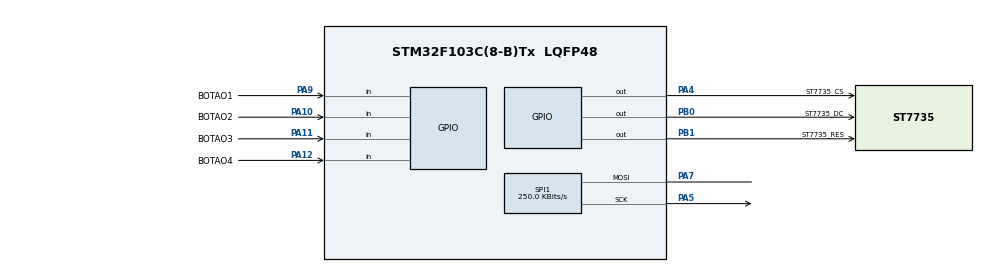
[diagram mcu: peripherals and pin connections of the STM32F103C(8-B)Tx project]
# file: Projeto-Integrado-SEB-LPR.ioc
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Mcu.Family=STM32F1
Mcu.Name=STM32F103C(8-B)Tx
Mcu.Package=LQFP48
NVIC.PriorityGroup=NVIC_PRIORITYGROUP_4
PA10.GPIO_Label=BOTAO2
PA10.GPIO_PuPd=GPIO_PULLUP
PA10.Signal=GPIO_Input
PA11.GPIO_Label=BOTAO3
PA11.GPIO_PuPd=GPIO_PULLUP
PA11.Signal=GPIO_Input
PA12.GPIO_Label=BOTAO4
PA12.GPIO_PuPd=GPIO_PULLUP
PA12.Signal=GPIO_Input
PA13.Mode=Serial_Wire
PA13.Signal=SYS_JTMS-SWDIO
PA14.Mode=Serial_Wire
PA14.Signal=SYS_JTCK-SWCLK
PA4.GPIO_Label=ST7735_CS
PA4.Signal=GPIO_Output
PA5.Mode=Simplex_Bidirectional_Master
PA5.Signal=SPI1_SCK
PA7.Mode=Simplex_Bidirectional_Master
PA7.Signal=SPI1_MOSI
PA9.GPIO_Label=BOTAO1
PA9.GPIO_PuPd=GPIO_PULLUP
PA9.Signal=GPIO_Input
PB0.GPIO_Label=ST7735_DC
PB0.Signal=GPIO_Output
PB1.GPIO_Label=ST7735_RES
PB1.Signal=GPIO_Output
ProjectManager.HeapSize=0x200
ProjectManager.StackSize=0x400
ProjectManager.TargetToolchain=STM32CubeIDE
RCC.APB1Freq_Value=8000000
RCC.APB2Freq_Value=8000000
SPI1.BaudRatePrescaler=SPI_BAUDRATEPRESCALER_32
SPI1.CalculateBaudRate=250.0 KBits/s
SPI1.Direction=SPI_DIRECTION_1LINE
SPI1.Mode=SPI_MODE_MASTER
SPI1.VirtualType=VM_MASTER
board=custom

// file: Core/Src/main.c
/* USER CODE BEGIN Header */
/**
  ******************************************************************************
  * @file           : main.c
  * @brief          : Main program body
  ******************************************************************************
  * @attention
  *
  * <h2><center>&copy; Copyright (c) 2026 STMicroelectronics.
  * All rights reserved.</center></h2>
  *
  * This software component is licensed by ST under BSD 3-Clause license,
  * the "License"; You may not use this file except in compliance with the
  * License. You may obtain a copy of the License at:
  *                        opensource.org/licenses/BSD-3-Clause
  *
  ******************************************************************************
  */
/* USER CODE END Header */
#include "main.h"

/* USER CODE BEGIN Includes */
#include "st7735\st7735.h"
#include "stdlib.h"
#include "time.h"
#include "stdio.h"
/* USER CODE END Includes */

SPI_HandleTypeDef hspi1;

/* USER CODE BEGIN PV */
GPIO_PinState estado_anterior_botao1 = GPIO_PIN_SET;
GPIO_PinState estado_anterior_botao2 = GPIO_PIN_SET;
GPIO_PinState estado_anterior_botao3 = GPIO_PIN_SET;
GPIO_PinState estado_anterior_botao4 = GPIO_PIN_SET;

int aula_iniciada = 0;
int semente_definida = 0;
int sistema_autenticado = 0;
int config_finalizada = 0;
int senha_gerada = 0;
int tentativas_erradas = 0;
int bloqueado = 0;
int tempo_bloqueio = 0;

int limite_alunos = 0;
int total_entrada = 0;
int total_saida = 0;
int alunos_fora = 0;
int matricula = 0;

int posicao_digito = 0;
int digito_atual = 0;
int senha_inserida = 0;
char buffer[32];

/* USER CODE END PV */

void SystemClock_Config(void);
static void MX_GPIO_Init(void);
static void MX_SPI1_Init(void);
/* USER CODE BEGIN PFP */
void inserir_senha(void);
void gerenciar_configuracao(void);
void gerenciar_aula(void);
void exibir_relatorio_final(void);
void atualizar_tela_inserir(int pos, int dig);
void atualizar_dados_tela_aula(char* msg, int cor_msg);
/* USER CODE END PFP */

int main(void)
{

  /* MCU Configuration--------------------------------------------------------*/

  /* Reset of all peripherals, Initializes the Flash interface and the Systick. */
  HAL_Init();

  /* Configure the system clock */
  SystemClock_Config();

  /* Initialize all configured peripherals */
  MX_GPIO_Init();
  MX_SPI1_Init();
  /* USER CODE BEGIN 2 */
  ST7735_Init();
  ST7735_FillScreen(BLACK);
  /* USER CODE END 2 */
  ST7735_Init();
  ST7735_FillScreen(BLACK);
  /* Infinite loop */
  /* USER CODE BEGIN WHILE */

  while (1)
      {
	        if (aula_iniciada == 0) {
	          ST7735_WriteString(5, 20, "SISTEMA PRONTO", Font_7x10, CYAN, BLACK);
	          ST7735_WriteString(5, 50, "Pressione PA9 para", Font_7x10, WHITE, BLACK);
	          ST7735_WriteString(5, 70, "INICIAR A AULA", Font_7x10, YELLOW, BLACK);

	          if (HAL_GPIO_ReadPin(BOTAO1_GPIO_Port, BOTAO1_Pin) == GPIO_PIN_RESET) {
	            srand(HAL_GetTick());
	            semente_definida = 1;
	            senha_gerada = (rand() % 9000) + 1000;
	            aula_iniciada = 1;

	            senha_inserida = 0;
	            posicao_digito = 0;
	            digito_atual = 0;

	            while(HAL_GPIO_ReadPin(BOTAO1_GPIO_Port, BOTAO1_Pin) == GPIO_PIN_RESET);
	            ST7735_FillScreen(BLACK);
	            atualizar_tela_inserir(posicao_digito, digito_atual);
	          }
	        }

	        else if (sistema_autenticado == 0) {
	          inserir_senha();
	        }

	        else if (config_finalizada == 0) {
	          gerenciar_configuracao();
	        }

	        else {
	          if (HAL_GPIO_ReadPin(BOTAO1_GPIO_Port, BOTAO1_Pin) == GPIO_PIN_RESET &&
	              HAL_GPIO_ReadPin(BOTAO4_GPIO_Port, BOTAO4_Pin) == GPIO_PIN_RESET) {
	            exibir_relatorio_final();
	            while(1);
	          }
	          gerenciar_aula();
	        }

	        /* USER CODE END WHILE */
      }
}

void SystemClock_Config(void)
{
  RCC_OscInitTypeDef RCC_OscInitStruct = {0};
  RCC_ClkInitTypeDef RCC_ClkInitStruct = {0};

  /** Initializes the RCC Oscillators according to the specified parameters
  * in the RCC_OscInitTypeDef structure.
  */
  RCC_OscInitStruct.OscillatorType = RCC_OSCILLATORTYPE_HSI;
  RCC_OscInitStruct.HSIState = RCC_HSI_ON;
  RCC_OscInitStruct.HSICalibrationValue = RCC_HSICALIBRATION_DEFAULT;
  RCC_OscInitStruct.PLL.PLLState = RCC_PLL_NONE;
  if (HAL_RCC_OscConfig(&RCC_OscInitStruct) != HAL_OK)
  {
    Error_Handler();
  }
  /** Initializes the CPU, AHB and APB buses clocks
  */
  RCC_ClkInitStruct.ClockType = RCC_CLOCKTYPE_HCLK|RCC_CLOCKTYPE_SYSCLK
                              |RCC_CLOCKTYPE_PCLK1|RCC_CLOCKTYPE_PCLK2;
  RCC_ClkInitStruct.SYSCLKSource = RCC_SYSCLKSOURCE_HSI;
  RCC_ClkInitStruct.AHBCLKDivider = RCC_SYSCLK_DIV1;
  RCC_ClkInitStruct.APB1CLKDivider = RCC_HCLK_DIV1;
  RCC_ClkInitStruct.APB2CLKDivider = RCC_HCLK_DIV1;

  if (HAL_RCC_ClockConfig(&RCC_ClkInitStruct, FLASH_LATENCY_0) != HAL_OK)
  {
    Error_Handler();
  }
}

static void MX_SPI1_Init(void)
{

  /* SPI1 parameter configuration*/
  hspi1.Instance = SPI1;
  hspi1.Init.Mode = SPI_MODE_MASTER;
  hspi1.Init.Direction = SPI_DIRECTION_1LINE;
  hspi1.Init.DataSize = SPI_DATASIZE_8BIT;
  hspi1.Init.CLKPolarity = SPI_POLARITY_LOW;
  hspi1.Init.CLKPhase = SPI_PHASE_1EDGE;
  hspi1.Init.NSS = SPI_NSS_SOFT;
  hspi1.Init.BaudRatePrescaler = SPI_BAUDRATEPRESCALER_32;
  hspi1.Init.FirstBit = SPI_FIRSTBIT_MSB;
  hspi1.Init.TIMode = SPI_TIMODE_DISABLE;
  hspi1.Init.CRCCalculation = SPI_CRCCALCULATION_DISABLE;
  hspi1.Init.CRCPolynomial = 10;
  if (HAL_SPI_Init(&hspi1) != HAL_OK)
  {
    Error_Handler();
  }

}

static void MX_GPIO_Init(void)
{
  GPIO_InitTypeDef GPIO_InitStruct = {0};

  /* GPIO Ports Clock Enable */
  __HAL_RCC_GPIOA_CLK_ENABLE();
  __HAL_RCC_GPIOB_CLK_ENABLE();

  /*Configure GPIO pin Output Level */
  HAL_GPIO_WritePin(ST7735_CS_GPIO_Port, ST7735_CS_Pin, GPIO_PIN_RESET);

  /*Configure GPIO pin Output Level */
  HAL_GPIO_WritePin(GPIOB, ST7735_DC_Pin|ST7735_RES_Pin, GPIO_PIN_RESET);

  /*Configure GPIO pin : ST7735_CS_Pin */
  GPIO_InitStruct.Pin = ST7735_CS_Pin;
  GPIO_InitStruct.Mode = GPIO_MODE_OUTPUT_PP;
  GPIO_InitStruct.Pull = GPIO_NOPULL;
  GPIO_InitStruct.Speed = GPIO_SPEED_FREQ_LOW;
  HAL_GPIO_Init(ST7735_CS_GPIO_Port, &GPIO_InitStruct);

  /*Configure GPIO pins : ST7735_DC_Pin ST7735_RES_Pin */
  GPIO_InitStruct.Pin = ST7735_DC_Pin|ST7735_RES_Pin;
  GPIO_InitStruct.Mode = GPIO_MODE_OUTPUT_PP;
  GPIO_InitStruct.Pull = GPIO_NOPULL;
  GPIO_InitStruct.Speed = GPIO_SPEED_FREQ_LOW;
  HAL_GPIO_Init(GPIOB, &GPIO_InitStruct);

  /*Configure GPIO pins : BOTAO1_Pin BOTAO2_Pin BOTAO3_Pin BOTAO4_Pin */
  GPIO_InitStruct.Pin = BOTAO1_Pin|BOTAO2_Pin|BOTAO3_Pin|BOTAO4_Pin;
  GPIO_InitStruct.Mode = GPIO_MODE_INPUT;
  GPIO_InitStruct.Pull = GPIO_PULLUP;
  HAL_GPIO_Init(GPIOA, &GPIO_InitStruct);

}

/* USER CODE BEGIN 4 */
void atualizar_tela_inserir(int pos, int dig) {
    ST7735_WriteString(5, 10, "--- AUTENTICACAO ---", Font_7x10, MAGENTA, BLACK);

    sprintf(buffer, "SENHA: %d    ", senha_gerada);
    ST7735_WriteString(5, 35, buffer, Font_7x10, GREEN, BLACK);

    sprintf(buffer, "DIGITO: %d   ", dig);
    ST7735_WriteString(5, 65, buffer, Font_7x10, YELLOW, BLACK);

    ST7735_WriteString(5, 95, "INPUT: ", Font_7x10, WHITE, BLACK);

    for(int i = 0; i < 4; i++) {
        if(i < pos) {
            ST7735_WriteString(65 + (i * 12), 95, "*", Font_7x10, CYAN, BLACK);
        } else {
            ST7735_WriteString(65 + (i * 12), 95, "_", Font_7x10, WHITE, BLACK);
        }
    }

    ST7735_WriteString(5, 120, "PA9:+  PA10:CONFIRMA", Font_7x10, WHITE, BLACK);
}

void exibir_tela_inicial(void) {
    ST7735_FillScreen(BLACK);
    ST7735_WriteString(10, 40, "BEM-VINDO!", Font_11x18, WHITE, BLACK);
    ST7735_WriteString(10, 70, "Pressione PA9", Font_7x10, YELLOW, BLACK);
    ST7735_WriteString(10, 85, "para iniciar", Font_7x10, YELLOW, BLACK);
}

void gerar_senha_aleatoria(void){
	senha_gerada = (rand() % 9000) + 1000;
}

void inserir_senha(void) {

    if (bloqueado) {
        if (HAL_GetTick() - tempo_bloqueio >= 10000) {
            bloqueado = 0;
            tentativas_erradas = 0;
            ST7735_FillScreen(BLACK);
            atualizar_tela_inserir(posicao_digito, digito_atual);
        } else {
            sprintf(buffer, "BLOQUEADO: %ds ", (int)(10 - (HAL_GetTick() - tempo_bloqueio) / 1000));
            ST7735_WriteString(5, 65, buffer, Font_7x10, RED, BLACK);
            return;
        }
    }

    if (HAL_GPIO_ReadPin(BOTAO1_GPIO_Port, BOTAO1_Pin) == GPIO_PIN_RESET) {
        HAL_Delay(50);
        digito_atual = (digito_atual + 1) % 10;
        atualizar_tela_inserir(posicao_digito, digito_atual);
        while(HAL_GPIO_ReadPin(BOTAO1_GPIO_Port, BOTAO1_Pin) == GPIO_PIN_RESET);
    }

    if (HAL_GPIO_ReadPin(BOTAO2_GPIO_Port, BOTAO2_Pin) == GPIO_PIN_RESET) {
        HAL_Delay(50);
        senha_inserida = (senha_inserida * 10) + digito_atual;
        posicao_digito++;
        digito_atual = 0;

        if (posicao_digito == 4) {
            if (senha_inserida == senha_gerada) {
                sistema_autenticado = 1;
                ST7735_FillScreen(BLACK);
                ST7735_WriteString(5, 50, "ACESSO LIBERADO", Font_7x10, GREEN, BLACK);
                HAL_Delay(1000);
                ST7735_FillScreen(BLACK);
            } else {
                tentativas_erradas++;
                senha_inserida = 0;
                posicao_digito = 0;
                if (tentativas_erradas >= 3) {
                    bloqueado = 1;
                    tempo_bloqueio = HAL_GetTick();
                    ST7735_FillScreen(BLACK);
                } else {
                    ST7735_FillScreen(BLACK);
                    ST7735_WriteString(5, 50, "SENHA INCORRETA", Font_7x10, RED, BLACK);
                    HAL_Delay(1000);
                    ST7735_FillScreen(BLACK);
                    atualizar_tela_inserir(posicao_digito, digito_atual);
                }
            }
        } else {
            atualizar_tela_inserir(posicao_digito, digito_atual);
        }
        while(HAL_GPIO_ReadPin(BOTAO2_GPIO_Port, BOTAO2_Pin) == GPIO_PIN_RESET);
    }
}

void gerenciar_configuracao(void) {
    ST7735_WriteString(5, 10, "CONFIG. LIMITE", Font_7x10, WHITE, BLACK);
    ST7735_WriteString(5, 90, "PA10: + | PA11: CONFIRMA", Font_7x10, YELLOW, BLACK);

    if (HAL_GPIO_ReadPin(BOTAO2_GPIO_Port, BOTAO2_Pin) == GPIO_PIN_RESET) {
        limite_alunos++;
        sprintf(buffer, "Limite: %d  ", limite_alunos);
        ST7735_WriteString(5, 50, buffer, Font_7x10, CYAN, BLACK);
        HAL_Delay(200);
        while(HAL_GPIO_ReadPin(BOTAO2_GPIO_Port, BOTAO2_Pin) == GPIO_PIN_RESET);
    }
    if (HAL_GPIO_ReadPin(BOTAO3_GPIO_Port, BOTAO3_Pin) == GPIO_PIN_RESET && limite_alunos > 0) {
        config_finalizada = 1;
        ST7735_FillScreen(BLACK);
        atualizar_dados_tela_aula("AULA INICIADA", GREEN);
        while(HAL_GPIO_ReadPin(BOTAO3_GPIO_Port, BOTAO3_Pin) == GPIO_PIN_RESET);
    }
}

void gerenciar_aula(void) {
    int mudou = 0;
    char* msg = "EM CURSO...";
    int cor = WHITE;

    if (HAL_GPIO_ReadPin(BOTAO4_GPIO_Port, BOTAO4_Pin) == GPIO_PIN_RESET) {
        matricula = 1;
        msg = "DIGITAL OK";
        cor = CYAN;
        mudou = 1;
        while(HAL_GPIO_ReadPin(BOTAO4_GPIO_Port, BOTAO4_Pin) == GPIO_PIN_RESET);
    }
    if (HAL_GPIO_ReadPin(BOTAO1_GPIO_Port, BOTAO1_Pin) == GPIO_PIN_RESET) {
        if (matricula && total_entrada < limite_alunos) {
            total_entrada++;
            matricula = 0;
            msg = "BEM-VINDO";
            cor = GREEN;
        } else {
            msg = matricula ? "LOTADO!" : "SEM DIGITAL";
            cor = RED;
        }
        mudou = 1;
        while(HAL_GPIO_ReadPin(BOTAO1_GPIO_Port, BOTAO1_Pin) == GPIO_PIN_RESET);
    }
    if (HAL_GPIO_ReadPin(BOTAO2_GPIO_Port, BOTAO2_Pin) == GPIO_PIN_RESET) {
        if (alunos_fora < 3) {
            alunos_fora++;
            total_saida++;
            msg = "SAIDA BANHEIRO";
            cor = YELLOW;
        } else {
            msg = "WC BANHEIRO";
            cor = RED;
        }
        mudou = 1;
        while(HAL_GPIO_ReadPin(BOTAO2_GPIO_Port, BOTAO2_Pin) == GPIO_PIN_RESET);
    }
    if (HAL_GPIO_ReadPin(BOTAO3_GPIO_Port, BOTAO3_Pin) == GPIO_PIN_RESET) {
        if (alunos_fora > 0) {
            alunos_fora--;
            msg = "RETORNO WC";
            cor = GREEN;
        }
        mudou = 1;
        while(HAL_GPIO_ReadPin(BOTAO3_GPIO_Port, BOTAO3_Pin) == GPIO_PIN_RESET);
    }

    if (mudou) atualizar_dados_tela_aula(msg, cor);
}

void atualizar_dados_tela_aula(char* msg, int cor_msg) {
    ST7735_WriteString(5, 10, "CONTROLE DE AULA", Font_7x10, MAGENTA, BLACK);
    ST7735_WriteString(5, 40, "            ", Font_7x10, BLACK, BLACK);
    ST7735_WriteString(5, 40, msg, Font_7x10, cor_msg, BLACK);
    sprintf(buffer, "Alunos: %d/%d", total_entrada, limite_alunos);
    ST7735_WriteString(5, 70, buffer, Font_7x10, WHITE, BLACK);
    sprintf(buffer, "No banheiro: %d/3", alunos_fora);
    ST7735_WriteString(5, 95, buffer, Font_7x10, (alunos_fora == 3 ? RED : GREEN), BLACK);
}

void exibir_relatorio_final(void) {
    ST7735_FillScreen(BLACK);
    ST7735_WriteString(5, 10, "RELATORIO FINAL", Font_7x10, CYAN, BLACK);
    sprintf(buffer, "Presencas: %d", total_entrada);
    ST7735_WriteString(5, 40, buffer, Font_7x10, WHITE, BLACK);
    sprintf(buffer, "Saidas WC: %d", total_saida);
    ST7735_WriteString(5, 65, buffer, Font_7x10, WHITE, BLACK);
    sprintf(buffer, "Nao voltaram: %d", alunos_fora);
    ST7735_WriteString(5, 90, buffer, Font_7x10, RED, BLACK);
    ST7735_WriteString(5, 115, "AULA ENCERRADA", Font_7x10, YELLOW, BLACK);
}

/* USER CODE END 4 */

void Error_Handler(void)
{
  __disable_irq();
  while (1)
  {
  }
}

/************************ (C) COPYRIGHT STMicroelectronics *****END OF FILE****/
